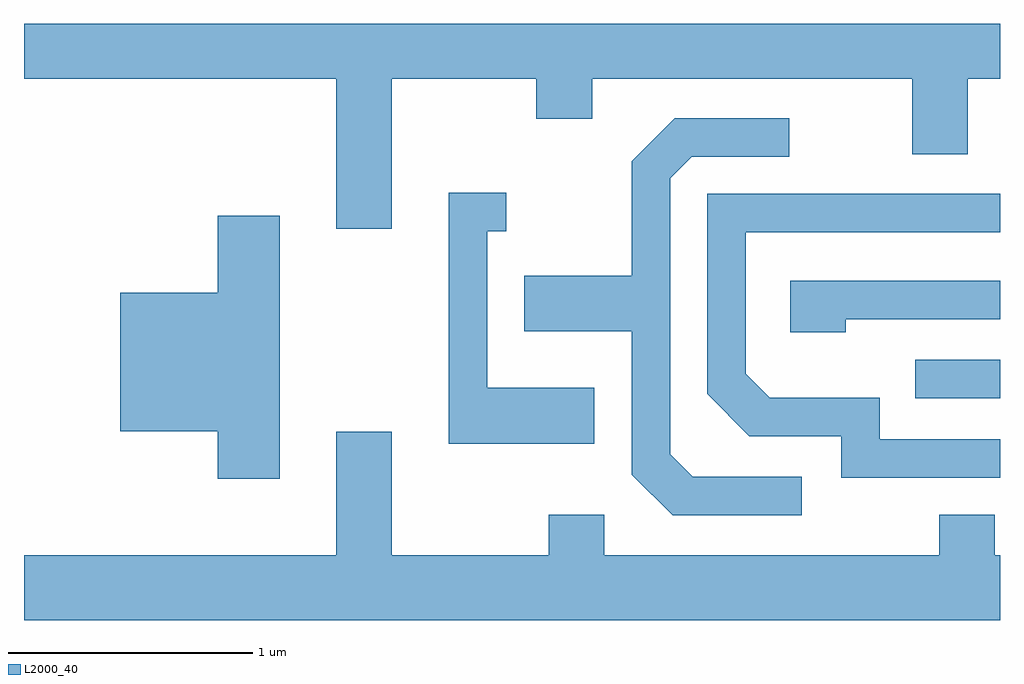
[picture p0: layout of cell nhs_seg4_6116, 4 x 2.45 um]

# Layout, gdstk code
import gdstk
lib = gdstk.Library(unit=1e-6, precision=1e-09)
def R(c, l, rs):  # rectangles x0, y0, x1, y1
    for r in rs: c.add(gdstk.rectangle(r[:2], r[2:], *l))
def P(c, l, *ps):  # polygons
    for p in ps: c.add(gdstk.Polygon(p, *l))
L2000_40 = (2000, 40)

nhs_seg4_6116 = lib.new_cell('nhs_seg4_6116')
R(nhs_seg4_6116, L2000_40, [(367.263,1384.446,367.611,1384.604)])
P(nhs_seg4_6116, L2000_40, [(365.119,1385.756),(365.711,1385.756),(365.711,1385.591),(365.939,1385.591),(365.939,1385.756),(367.251,1385.756),(367.251,1385.446),(367.479,1385.446),(367.479,1385.756),(367.611,1385.756),(367.611,1385.982),(363.611,1385.982),(363.611,1385.756),(364.891,1385.756),(364.891,1385.141),(365.119,1385.141)],
  [(366.798,1384.124),(366.352,1384.124),(366.259,1384.217),(366.259,1385.349),(366.347,1385.436),(366.748,1385.436),(366.748,1385.594),(366.279,1385.594),(366.101,1385.417),(366.101,1384.949),(365.661,1384.949),(365.661,1384.721),(366.101,1384.721),(366.101,1384.134),(366.269,1383.966),(366.798,1383.966)],
  [(365.949,1384.489),(365.509,1384.489),(365.509,1385.131),(365.588,1385.131),(365.588,1385.289),(365.351,1385.289),(365.351,1384.261),(365.949,1384.261)],
  [(367.611,1384.279),(367.119,1384.279),(367.119,1384.449),(366.667,1384.449),(366.569,1384.547),(366.569,1385.126),(367.611,1385.126),(367.611,1385.284),(366.411,1385.284),(366.411,1384.464),(366.584,1384.291),(366.961,1384.291),(366.961,1384.121),(367.611,1384.121)],
  [(364.659,1385.194),(364.406,1385.194),(364.406,1384.879),(364.006,1384.879),(364.006,1384.311),(364.406,1384.311),(364.406,1384.116),(364.659,1384.116)],
  [(366.979,1384.771),(367.611,1384.771),(367.611,1384.929),(366.751,1384.929),(366.751,1384.716),(366.979,1384.716)],
  [(367.611,1383.804),(367.589,1383.804),(367.589,1383.969),(367.361,1383.969),(367.361,1383.804),(365.989,1383.804),(365.989,1383.969),(365.761,1383.969),(365.761,1383.804),(365.119,1383.804),(365.119,1384.309),(364.891,1384.309),(364.891,1383.804),(363.611,1383.804),(363.611,1383.536),(367.611,1383.536)])

lib.write_gds('nhs_seg4_6116.gds')
